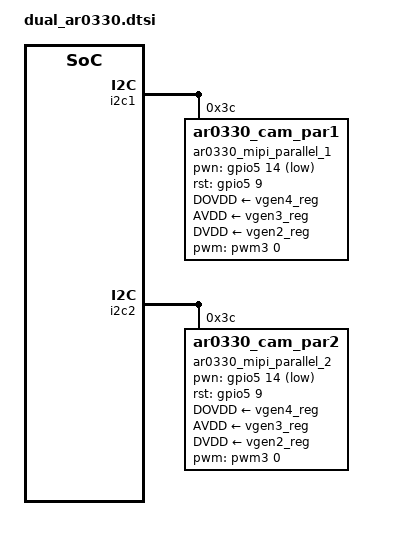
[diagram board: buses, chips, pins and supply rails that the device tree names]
/* Dual ar0330 camera module for MEISSA */

&i2c1 {
        /* ar0330_mipi_parallel_1 camera interface with Toshiba bridge */
        ar0330_mipi_parallel_1: ar0330@3C {
                compatible = "ar0330_cam_par1";
                reg = <0x3C>;
                pinctrl-names = "default";
                pinctrl-0 = <&pinctrl_ipu1_2>;
                pwms = <&pwm3 0 33333333>;
                clocks = <&clks 201>;
                clock-names = "csi_mclk";
                DOVDD-supply = <&vgen4_reg>; /* 1.8v */ /* Not sure of these three values */
                AVDD-supply = <&vgen3_reg>;  /* 2.8v, on rev C board is VGEN3,
                                                on rev B board is VGEN5 */
                DVDD-supply = <&vgen2_reg>;  /* 1.5v*/
                pwn-gpios = <&gpio5 14 1>;
                rst-gpios = <&gpio5 9 0>;
                ipu_id = <0>;
                csi_id = <0>;
                mclk = <24000000>;
                mclk_source = <0>;
                status="okay";
        };
};

&i2c2 {
        /* ar0330_mipi_parallel_2 camera interface with Toshiba bridge */
        ar0330_mipi_parallel_2: ar0330@3C {
                compatible = "ar0330_cam_par2";
                reg = <0x3C>;
                pinctrl-names = "default";
                pinctrl-0 = <&pinctrl_ov5640_csi1>;
                pwms = <&pwm3 0 33333333>;
                clocks = <&clks 201>;
                clock-names = "csi_mclk";
                DOVDD-supply = <&vgen4_reg>; /* 1.8v */ /* Not sure of these three values */
                AVDD-supply = <&vgen3_reg>;  /* 2.8v, on rev C board is VGEN3,
                                                on rev B board is VGEN5 */
                DVDD-supply = <&vgen2_reg>;  /* 1.5v*/
                pwn-gpios = <&gpio5 14 1>;
                rst-gpios = <&gpio5 9 0>;
                ipu_id = <1>;
                csi_id = <1>;
                mclk = <24000000>;
                mclk_source = <0>;
                status="okay";
        };
};
